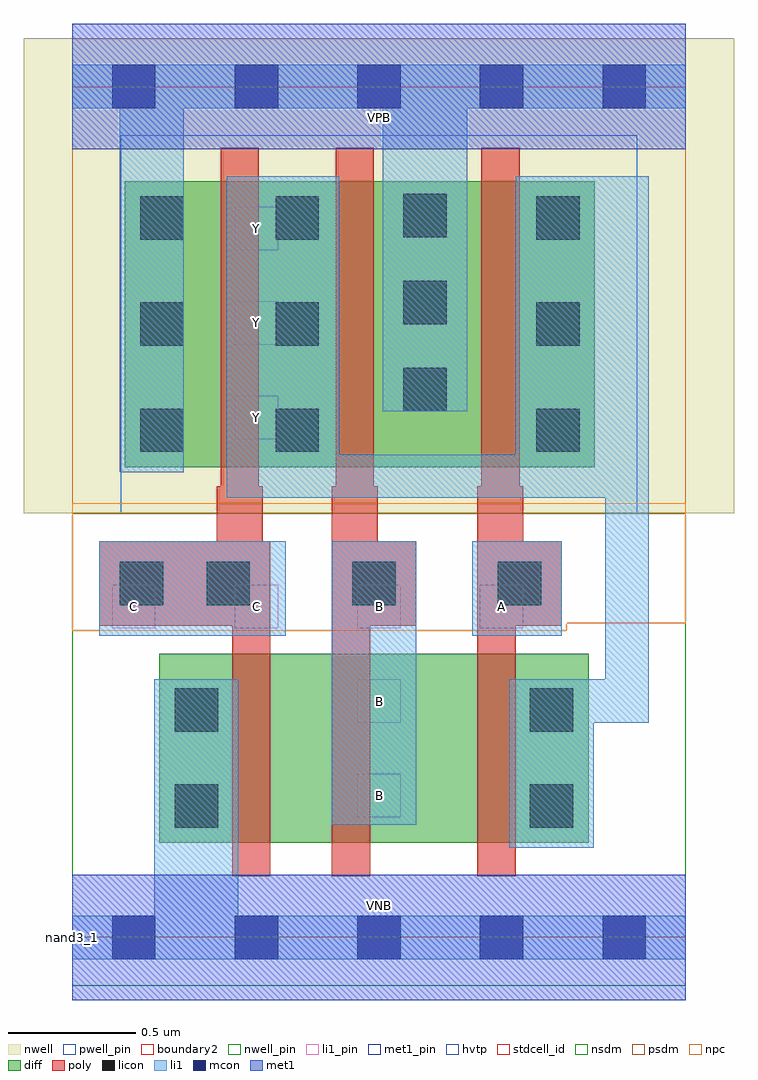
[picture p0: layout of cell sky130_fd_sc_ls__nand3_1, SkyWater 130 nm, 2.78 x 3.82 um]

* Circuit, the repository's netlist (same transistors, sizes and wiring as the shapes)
* Copyright 2020 The SkyWater PDK Authors
*
* Licensed under the Apache License, Version 2.0 (the "License");
* you may not use this file except in compliance with the License.
* You may obtain a copy of the License at
*
*     https://www.apache.org/licenses/LICENSE-2.0
*
* Unless required by applicable law or agreed to in writing, software
* distributed under the License is distributed on an "AS IS" BASIS,
* WITHOUT WARRANTIES OR CONDITIONS OF ANY KIND, either express or implied.
* See the License for the specific language governing permissions and
* limitations under the License.
*
* SPDX-License-Identifier: Apache-2.0

.SUBCKT sky130_fd_sc_ls__nand3_1 A B C VGND VNB VPB VPWR Y
*.PININFO A:I B:I C:I VGND:I VNB:I VPB:I VPWR:I Y:O
MMP0 Y A VPWR VPB sky130_fd_pr__pfet_01v8_hvt m=1 w=1.12U l=0.15U mult=1 sa=0.265
+ sb=0.265 sd=0.28 area=0.063 perim=1.14
MMP1 Y B VPWR VPB sky130_fd_pr__pfet_01v8_hvt m=1 w=1.12U l=0.15U mult=1 sa=0.265
+ sb=0.265 sd=0.28 area=0.063 perim=1.14
MMP2 Y C VPWR VPB sky130_fd_pr__pfet_01v8_hvt m=1 w=1.12U l=0.15U mult=1 sa=0.265
+ sb=0.265 sd=0.28 area=0.063 perim=1.14
MMN0 Y A sndA VNB sky130_fd_pr__nfet_01v8 m=1 w=0.74U l=0.15U mult=1 sa=0.265 sb=0.265
+ sd=0.28 area=0.063 perim=1.14
MMN1 sndA B sndB VNB sky130_fd_pr__nfet_01v8 m=1 w=0.74U l=0.15U mult=1 sa=0.265
+ sb=0.265 sd=0.28 area=0.063 perim=1.14
MMN2 sndB C VGND VNB sky130_fd_pr__nfet_01v8 m=1 w=0.74U l=0.15U mult=1 sa=0.265
+ sb=0.265 sd=0.28 area=0.063 perim=1.14
.ENDS sky130_fd_sc_ls__nand3_1

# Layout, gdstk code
import gdstk
lib = gdstk.Library(unit=1e-6, precision=1e-09)
def R(c, l, rs):  # rectangles x0, y0, x1, y1
    for r in rs: c.add(gdstk.rectangle(r[:2], r[2:], *l))
def A(c, l, x, y, w, h, nx, ny, dx, dy):  # array of equal rectangles
    R(c, l, [(x+i*dx, y+j*dy, x+i*dx+w, y+j*dy+h) for i in range(nx) for j in range(ny)])
def P(c, l, *ps):  # polygons
    for p in ps: c.add(gdstk.Polygon(p, *l))
nwell_pin = (64, 16)
nwell = (64, 20)
diff = (65, 20)
poly = (66, 20)
licon = (66, 44)
li1_pin = (67, 16)
li1 = (67, 20)
mcon = (67, 44)
met1_pin = (68, 16)
met1 = (68, 20)
hvtp = (78, 44)
stdcell_id = (81, 4)
nsdm = (93, 44)
psdm = (94, 20)
npc = (95, 20)
pwell_pin = (122, 16)
boundary2 = (236, 0)

sky130_fd_sc_ls__nand3_1 = lib.new_cell('sky130_fd_sc_ls__nand3_1')
R(sky130_fd_sc_ls__nand3_1, nwell_pin, [(0,3.085,2.4,3.33)])
R(sky130_fd_sc_ls__nand3_1, nwell, [(-0.19,1.66,2.59,3.52)])
R(sky130_fd_sc_ls__nand3_1, diff, [(0.34,0.37,2.02,1.11), (0.205,1.84,2.045,2.96)])
P(sky130_fd_sc_ls__nand3_1, poly, [(1.915,1.55),(1.765,1.55),(1.765,1.765),(1.75,1.765),(1.75,3.09),(1.6,3.09),(1.6,1.765),(1.585,1.765),(1.585,0.24),(1.735,0.24),(1.735,1.22),(1.915,1.22)],
  [(1.345,1.55),(1.195,1.55),(1.195,1.765),(1.18,1.765),(1.18,3.09),(1.03,3.09),(1.03,1.765),(1.015,1.765),(1.015,0.24),(1.165,0.24),(1.165,1.22),(1.345,1.22)],
  [(0.775,1.55),(0.745,1.55),(0.745,1.765),(0.73,1.765),(0.73,3.09),(0.58,3.09),(0.58,1.765),(0.565,1.765),(0.565,1.55),(0.105,1.55),(0.105,1.22),(0.625,1.22),(0.625,0.24),(0.775,0.24)])
A(sky130_fd_sc_ls__nand3_1, licon, 0.525, 1.3, 0.17, 0.17, 3, 1, 0.57, 0)
A(sky130_fd_sc_ls__nand3_1, licon, 0.265, 1.9, 0.17, 0.17, 1, 3, 0, 0.415)
A(sky130_fd_sc_ls__nand3_1, licon, 0.795, 1.9, 0.17, 0.17, 1, 3, 0, 0.415)
A(sky130_fd_sc_ls__nand3_1, licon, 1.815, 1.9, 0.17, 0.17, 1, 3, 0, 0.415)
A(sky130_fd_sc_ls__nand3_1, licon, 1.295, 2.06, 0.17, 0.17, 1, 3, 0, 0.34)
R(sky130_fd_sc_ls__nand3_1, licon, [(0.4,0.43,0.57,0.6), (1.79,0.43,1.96,0.6), (0.4,0.805,0.57,0.975), (1.79,0.805,1.96,0.975), (0.185,1.3,0.355,1.47)])
A(sky130_fd_sc_ls__nand3_1, li1_pin, 0.155, 1.21, 0.17, 0.17, 4, 1, 0.48, 0)
A(sky130_fd_sc_ls__nand3_1, li1_pin, 0.635, 1.95, 0.17, 0.17, 1, 3, 0, 0.37)
R(sky130_fd_sc_ls__nand3_1, li1_pin, [(1.115,0.47,1.285,0.64), (1.115,0.84,1.285,1.01)])
R(sky130_fd_sc_ls__nand3_1, li1, [(1.015,0.44,1.345,1.55), (0.105,1.18,0.835,1.55), (1.565,1.18,1.915,1.55)])
P(sky130_fd_sc_ls__nand3_1, li1, [(0.185,1.82),(0.185,3.245),(0,3.245),(0,3.415),(2.4,3.415),(2.4,3.245),(1.545,3.245),(1.545,2.06),(1.215,2.06),(1.215,3.245),(0.435,3.245),(0.435,1.82)],
  [(0.32,0.085),(0.32,1.01),(0.65,1.01),(0.65,0.085),(2.4,0.085),(2.4,-0.085),(0,-0.085),(0,0.085)],
  [(1.045,1.89),(1.735,1.89),(1.735,2.98),(2.255,2.98),(2.255,0.84),(2.04,0.84),(2.04,0.35),(1.71,0.35),(1.71,1.01),(2.085,1.01),(2.085,1.72),(0.605,1.72),(0.605,2.98),(1.045,2.98)])
A(sky130_fd_sc_ls__nand3_1, mcon, 0.155, -0.085, 0.17, 0.17, 5, 2, 0.48, 3.33)
R(sky130_fd_sc_ls__nand3_1, met1_pin, [(0,0,2.4,0.245), (0,3.085,2.4,3.33)])
R(sky130_fd_sc_ls__nand3_1, met1, [(0,-0.245,2.4,0.245), (0,3.085,2.4,3.575)])
R(sky130_fd_sc_ls__nand3_1, hvtp, [(0.19,1.66,2.21,3.14)])
R(sky130_fd_sc_ls__nand3_1, stdcell_id, [(0,0,2.4,3.33)])
R(sky130_fd_sc_ls__nand3_1, nsdm, [(0,-0.19,2.4,1.66)])
R(sky130_fd_sc_ls__nand3_1, psdm, [(0,1.66,2.4,3.52)])
P(sky130_fd_sc_ls__nand3_1, npc, [(2.4,1.7),(0,1.7),(0,1.2),(1.935,1.2),(1.935,1.23),(2.4,1.23)])
R(sky130_fd_sc_ls__nand3_1, pwell_pin, [(0,0,2.4,0.245)])
R(sky130_fd_sc_ls__nand3_1, boundary2, [(0,0,2.4,3.33)])
sky130_fd_sc_ls__nand3_1.add(gdstk.Label('nand3_1', (0,0), layer=83, texttype=44))
sky130_fd_sc_ls__nand3_1.add(gdstk.Label('VNB', (1.2,0.123), layer=64, texttype=59))
sky130_fd_sc_ls__nand3_1.add(gdstk.Label('VPB', (1.2,3.208), layer=64, texttype=5))
sky130_fd_sc_ls__nand3_1.add(gdstk.Label('VPWR', (1.2,3.208), layer=68, texttype=5))
sky130_fd_sc_ls__nand3_1.add(gdstk.Label('VGND', (1.2,0.123), layer=68, texttype=5))
sky130_fd_sc_ls__nand3_1.add(gdstk.Label('C', (0.24,1.295), layer=67, texttype=5))
sky130_fd_sc_ls__nand3_1.add(gdstk.Label('C', (0.72,1.295), layer=67, texttype=5))
sky130_fd_sc_ls__nand3_1.add(gdstk.Label('Y', (0.72,2.035), layer=67, texttype=5))
sky130_fd_sc_ls__nand3_1.add(gdstk.Label('Y', (0.72,2.405), layer=67, texttype=5))
sky130_fd_sc_ls__nand3_1.add(gdstk.Label('Y', (0.72,2.775), layer=67, texttype=5))
sky130_fd_sc_ls__nand3_1.add(gdstk.Label('B', (1.2,0.555), layer=67, texttype=5))
sky130_fd_sc_ls__nand3_1.add(gdstk.Label('B', (1.2,0.925), layer=67, texttype=5))
sky130_fd_sc_ls__nand3_1.add(gdstk.Label('B', (1.2,1.295), layer=67, texttype=5))
sky130_fd_sc_ls__nand3_1.add(gdstk.Label('A', (1.68,1.295), layer=67, texttype=5))

lib.write_gds('sky130_fd_sc_ls__nand3_1.gds')
